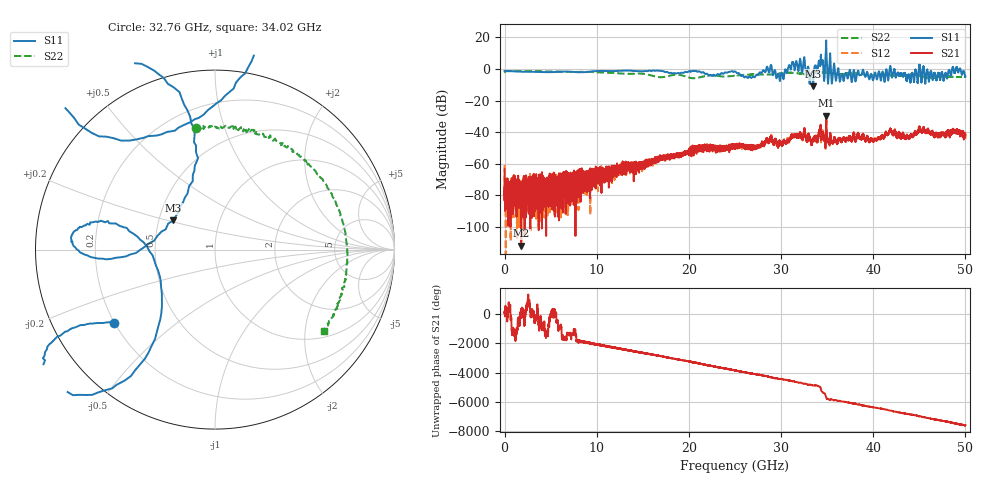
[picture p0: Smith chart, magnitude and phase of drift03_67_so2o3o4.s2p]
!Created with skrf (http://scikit-rf.org).
# Hz S RI R 50.0
!freq ReS11 ImS11 ReS21 ImS21 ReS12 ImS12 ReS22 ImS22
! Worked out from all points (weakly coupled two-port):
!   10001 points, 300 kHz to 50 GHz, reference 50 ohm
!   highest |S21| = -29.60 dB at 34.9 GHz (marker M1); lowest = -111.7 dB at 1.805 GHz (marker M2)
!   lowest |S11| = -11.0 dB at 33.47 GHz (marker M3), VSWR 1.79, Z = 29.8 + j10.5 ohm
!   |S11| at or under -10 dB: 33.44913 GHz to 33.48439 GHz (35.26 MHz wide, 0.105 % of centre)
!   |S22| runs from -5.9 to -1.3 dB; largest |S21 - S12| = 0.0064
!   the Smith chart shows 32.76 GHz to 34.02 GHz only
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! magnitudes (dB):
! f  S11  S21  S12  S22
! 300 kHz  -1.3  -63.5  -60.9  -2.0
! 325.3 MHz  -1.3  -75.0  -91.7  -1.4
! 1.805 GHz  -1.8  -111.7  -80.1  -1.4
! 8.335 GHz  -2.2  -72.4  -70.8  -1.9
! 16.67 GHz  -1.1  -57.7  -57.2  -5.2
! 25 GHz  -1.5  -48.2  -47.9  -4.3
! 26.92 GHz  -4.9  -48.8  -49.7  -3.5
! 28.72 GHz  -2.3  -44.9  -46.1  -3.6
! 30.06 GHz  -2.5  -47.1  -47.7  -2.8
! 31.87 GHz  -1.4  -41.7  -42.6  -2.9
! 33.34 GHz  -2.2  -48.2  -47.9  -2.9
! 33.47 GHz  -11.0  -44.7  -45.5  -2.8
! 34.29 GHz  6.3  -36.6  -35.8  -2.4
! 34.9 GHz  18.0  -29.6  -30.6  -2.4
! 36.58 GHz  -3.5  -46.2  -46.5  -3.6
! 40.13 GHz  -3.5  -44.8  -44.7  -3.7
! 41.67 GHz  -5.4  -40.7  -40.4  -3.7
! 43.84 GHz  -3.6  -43.4  -44.0  -3.8
! 45.2 GHz  -6.5  -39.8  -40.0  -4.3
! 47.06 GHz  -2.9  -41.7  -41.7  -5.0
! 49.21 GHz  -2.0  -39.5  -39.4  -5.1
! 50 GHz  -4.9  -43.5  -42.1  -5.0
